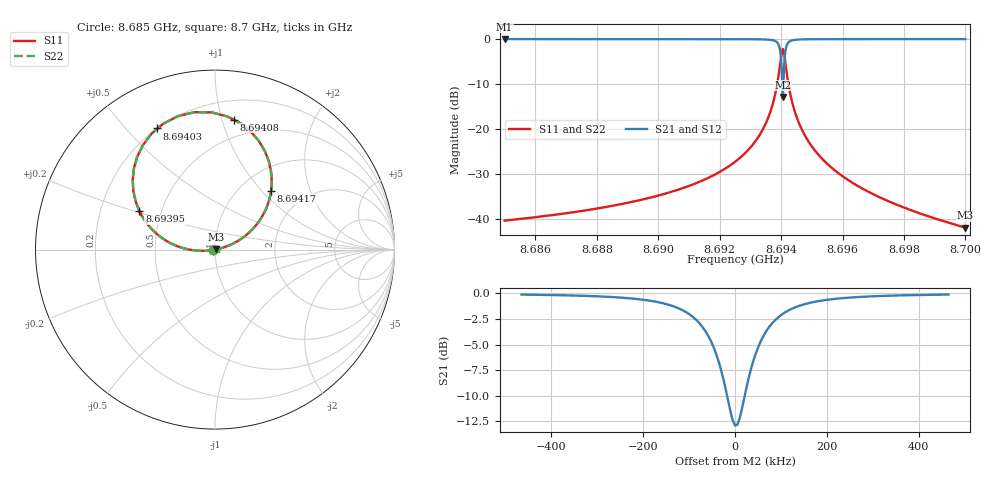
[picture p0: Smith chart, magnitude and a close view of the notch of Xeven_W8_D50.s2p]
! Sonnet Data File
! From: emgraph Version : 16.52
! From Project: Qubit_Xmon2_brg_para
! Data is De-embedded
! Data File Written: 10/25/2017 13:37:33
!< HDATE 10/25/2017 09:37:53
!< MDATE 10/25/2017 09:40:21
!< PARAMS
!< Lj = 11.0
!< Gap = 6.0
!< Pwid = 2000.0
!< Airgap = 6.0
!< Width = 10.0
!< Bwid = 8.0
!< Dis1 = 50.0
!< Dis2 = 56.0
!< END PARAMS
# GHZ S MA R 51.80000
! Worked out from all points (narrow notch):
!   3001 points, 8.685 GHz to 8.7 GHz, reference 51.8 ohm
!   highest |S21| = 0.00 dB at 8.685 GHz (marker M1); lowest = -12.9 dB at 8.69406 GHz (marker M2)
!   notch at M2: 12.9 dB deep, 78.1 kHz wide at half that depth
!   lowest |S11| = -41.9 dB at 8.7 GHz (marker M3), VSWR 1.02, Z = 52.6 + j0.167 ohm
!   |S11| at or under -10 dB: start of sweep to 8.693873 GHz; 8.694238 GHz to end of sweep
!   |S22| runs from -41.9 to -2.2 dB; largest |S21 - S12| = 0
!   S11 on the Smith chart (normalised r, x): 8.685 GHz: 0.98, -0.00; 8.69395 GHz: 0.38, +0.21; 8.69403 GHz: 0.20, +0.61; 8.69408 GHz: 0.35, +1.10; 8.69417 GHz: 1.37, +1.13; 8.7 GHz: 1.02, +0.00
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8.685  0.009616 -170.2  0.9999 -80.0  0.9999 -80.0  0.009616 -170.0
!< P1 F=8.685 Eeff=(6.44683879 -2.9786e-5) Z0=(51.7993663 1.19075e-4) R=0.0 C=0.0
!< P2 F=8.685 Eeff=(6.44683879 -2.9786e-5) Z0=(51.7993663 1.19075e-4) R=0.0 C=0.0
8.6875  0.01228 -170.4  0.9999 -80.2  0.9999 -80.2  0.01228 -170.2
8.69  0.01823 -170.8  0.9998 -80.5  0.9998 -80.5  0.01823 -170.7
8.6925  0.04324 -172.6  0.9986 -82.0  0.9986 -82.0  0.04324 -172.6
8.693065  0.06624 -174.3  0.9966 -83.3  0.9966 -83.3  0.06624 -174.4
8.693475  0.1103 -177.6  0.9905 -85.8  0.9905 -85.8  0.1103 -177.7
8.69382  0.255 171.4  0.9476 -94.2  0.9476 -94.2  0.255 171.3
8.693895  0.3511 163.7  0.8977 -99.9  0.8977 -99.9  0.3511 163.6
8.69395  0.472 153.1  0.8054 -107.2  0.8054 -107.2  0.472 153.0
8.69399  0.6003 139.8  0.6566 -114.9  0.6566 -114.9  0.6003 139.7
8.694035  0.7483 115.6  0.3386 -114.5  0.3386 -114.5  0.7483 115.5
8.694055  0.7744 101.9  0.2266 -84.3  0.2266 -84.3  0.7744 101.8
8.694085  0.7324 81.6  0.3882 -41.8  0.3882 -41.8  0.7324 81.5
8.69413  0.5766 58.7  0.6876 -45.5  0.6876 -45.5  0.5766 58.6
8.69417  0.4524 46.4  0.8217 -53.0  0.8217 -53.0  0.4524 46.2
8.69425  0.3 33.4  0.9256 -62.1  0.9256 -62.1  0.3 33.3
8.69437  0.1933 25.1  0.9697 -68.4  0.9697 -68.4  0.1933 25.0
8.69463  0.1069 18.6  0.9908 -73.4  0.9908 -73.4  0.1069 18.4
8.695  0.06431 15.4  0.9966 -75.8  0.9966 -75.8  0.06431 15.2
8.695985  0.0302 12.9  0.9992 -77.8  0.9992 -77.8  0.0302 12.7
8.6975  0.01577 11.9  0.9998 -78.6  0.9998 -78.6  0.01577 11.6
8.7  0.008029 11.4  0.9999 -79.1  0.9999 -79.1  0.008029 10.9
